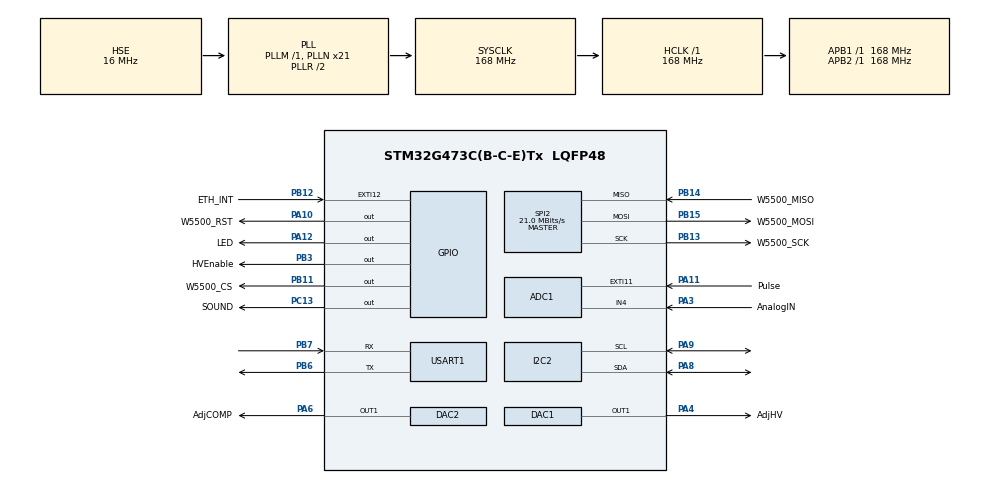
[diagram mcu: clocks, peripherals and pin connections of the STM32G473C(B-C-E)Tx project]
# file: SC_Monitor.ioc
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ADC1.Channel-1\#ChannelRegularConversion=ADC_CHANNEL_4
ADC1.ClockPrescaler=ADC_CLOCK_SYNC_PCLK_DIV4
ADC1.DMAContinuousRequests=ENABLE
ADC1.NbrOfConversionFlag=1
ADC1.OffsetNumber-1\#ChannelRegularConversion=ADC_OFFSET_1
ADC1.Rank-1\#ChannelRegularConversion=1
ADC1.SamplingTime-1\#ChannelRegularConversion=ADC_SAMPLETIME_12CYCLES_5
ADC1.master=1
DAC1.DAC_Channel-DAC_OUT2=DAC_CHANNEL_2
Dma.ADC1.1.Direction=DMA_PERIPH_TO_MEMORY
Dma.ADC1.1.EventEnable=DISABLE
Dma.ADC1.1.Instance=DMA1_Channel1
Dma.ADC1.1.MemDataAlignment=DMA_MDATAALIGN_HALFWORD
Dma.ADC1.1.MemInc=DMA_MINC_DISABLE
Dma.ADC1.1.Mode=DMA_CIRCULAR
Dma.ADC1.1.PeriphDataAlignment=DMA_PDATAALIGN_HALFWORD
Dma.ADC1.1.PeriphInc=DMA_PINC_DISABLE
Dma.ADC1.1.Polarity=HAL_DMAMUX_REQ_GEN_RISING
Dma.ADC1.1.Priority=DMA_PRIORITY_HIGH
Dma.ADC1.1.RequestNumber=1
Dma.ADC1.1.SignalID=NONE
Dma.ADC1.1.SyncEnable=DISABLE
Dma.ADC1.1.SyncPolarity=HAL_DMAMUX_SYNC_NO_EVENT
Dma.ADC1.1.SyncRequestNumber=1
Dma.ADC1.1.SyncSignalID=NONE
Dma.Request0=USART1_RX
Dma.Request1=ADC1
Dma.USART1_RX.0.Direction=DMA_PERIPH_TO_MEMORY
Dma.USART1_RX.0.EventEnable=DISABLE
Dma.USART1_RX.0.Instance=DMA1_Channel2
Dma.USART1_RX.0.MemDataAlignment=DMA_MDATAALIGN_BYTE
Dma.USART1_RX.0.MemInc=DMA_MINC_DISABLE
Dma.USART1_RX.0.Mode=DMA_CIRCULAR
Dma.USART1_RX.0.PeriphDataAlignment=DMA_PDATAALIGN_BYTE
Dma.USART1_RX.0.PeriphInc=DMA_PINC_DISABLE
Dma.USART1_RX.0.Polarity=HAL_DMAMUX_REQ_GEN_RISING
Dma.USART1_RX.0.Priority=DMA_PRIORITY_LOW
Dma.USART1_RX.0.RequestNumber=1
Dma.USART1_RX.0.SignalID=NONE
Dma.USART1_RX.0.SyncEnable=DISABLE
Dma.USART1_RX.0.SyncPolarity=HAL_DMAMUX_SYNC_NO_EVENT
Dma.USART1_RX.0.SyncRequestNumber=1
Dma.USART1_RX.0.SyncSignalID=NONE
I2C2.Timing=0x00503D58
Mcu.Family=STM32G4
Mcu.Name=STM32G473C(B-C-E)Tx
Mcu.Package=LQFP48
NVIC.DMA1_Channel1_IRQn=true\:0\:0\:false\:false\:true\:false\:true\:true
NVIC.DMA1_Channel2_IRQn=true\:0\:0\:false\:false\:true\:false\:true\:true
NVIC.PriorityGroup=NVIC_PRIORITYGROUP_4
NVIC.TIM5_IRQn=true\:0\:0\:false\:false\:true\:true\:true\:true
PA10.GPIO_Label=W5500_RST
PA10.Signal=GPIO_Output
PA11.GPIO_Label=Pulse
PA11.Signal=GPXTI11
PA12.GPIO_Label=LED
PA12.Signal=GPIO_Output
PA3.GPIO_Label=AnalogIN
PA3.Mode=IN4-Single-Ended
PA3.Signal=ADC1_IN4
PA4.GPIO_Label=AdjHV
PA4.Signal=COMP_DAC11_group
PA6.GPIO_Label=AdjCOMP
PA6.Signal=COMP_DAC21_group
PA8.GPIO_Pu=GPIO_PULLUP
PA8.Mode=I2C
PA8.Signal=I2C2_SDA
PA9.GPIO_Pu=GPIO_PULLUP
PA9.Mode=I2C
PA9.Signal=I2C2_SCL
PB11.GPIO_Label=W5500_CS
PB11.Signal=GPIO_Output
PB12.GPIO_Label=ETH_INT
PB12.Signal=GPXTI12
PB13.GPIO_Label=W5500_SCK
PB13.GPIO_PuPd=GPIO_PULLUP
PB13.Mode=Full_Duplex_Master
PB13.Signal=SPI2_SCK
PB14.GPIO_Label=W5500_MISO
PB14.GPIO_PuPd=GPIO_PULLUP
PB14.Mode=Full_Duplex_Master
PB14.Signal=SPI2_MISO
PB15.GPIO_Label=W5500_MOSI
PB15.GPIO_PuPd=GPIO_PULLUP
PB15.Mode=Full_Duplex_Master
PB15.Signal=SPI2_MOSI
PB3.GPIO_Label=HVEnable
PB3.Signal=GPIO_Output
PB6.Mode=Asynchronous
PB6.Signal=USART1_TX
PB7.Mode=Asynchronous
PB7.Signal=USART1_RX
PC13.GPIO_Label=SOUND
PC13.Signal=GPIO_Output
PF0-OSC_IN.Mode=HSE-External-Oscillator
PF0-OSC_IN.Signal=RCC_OSC_IN
PF1-OSC_OUT.Mode=HSE-External-Oscillator
PF1-OSC_OUT.Signal=RCC_OSC_OUT
ProjectManager.HeapSize=0x200
ProjectManager.StackSize=0x400
ProjectManager.TargetToolchain=STM32CubeIDE
RCC.ADC12Freq_Value=168000000
RCC.ADC345Freq_Value=168000000
RCC.AHBFreq_Value=168000000
RCC.APB1Freq_Value=168000000
RCC.APB1TimFreq_Value=168000000
RCC.APB2Freq_Value=168000000
RCC.APB2TimFreq_Value=168000000
RCC.CortexFreq_Value=168000000
RCC.EXTERNAL_CLOCK_VALUE=12288000
RCC.HCLKFreq_Value=168000000
RCC.HSE_VALUE=16000000
RCC.HSI48_VALUE=48000000
RCC.HSI_VALUE=16000000
RCC.I2C2CLockSelection=RCC_I2C2CLKSOURCE_HSI
RCC.LSE_VALUE=32768
RCC.PLLN=21
RCC.PLLSourceVirtual=RCC_PLLSOURCE_HSE
RCC.SYSCLKFreq_VALUE=168000000
RCC.SYSCLKSource=RCC_SYSCLKSOURCE_PLLCLK
RCC.USART1CLockSelection=RCC_USART1CLKSOURCE_HSI
RCC.USBFreq_Value=168000000
RCC.VCOOutputFreq_Value=336000000
SH.COMP_DAC11_group.0=DAC1_OUT1,DAC_OUT1
SH.COMP_DAC21_group.0=DAC2_OUT1,DAC_OUT1
SPI2.BaudRatePrescaler=SPI_BAUDRATEPRESCALER_8
SPI2.CalculateBaudRate=21.0 MBits/s
SPI2.DataSize=SPI_DATASIZE_8BIT
SPI2.Direction=SPI_DIRECTION_2LINES
SPI2.Mode=SPI_MODE_MASTER
SPI2.VirtualType=VM_MASTER
TIM5.Channel-Output\ Compare1\ No\ Output=TIM_CHANNEL_1
TIM5.OCMode_1=TIM_OCMODE_TOGGLE
TIM5.PeriodNoDither=1680000
USART1.VirtualMode-Asynchronous=VM_ASYNC
VP_SYS_VS_DBSignals.Mode=DisableDeadBatterySignals
VP_TIM5_VS_ClockSourceINT.Mode=Internal
VP_TIM5_VS_OPM.Mode=OPM_bit
VP_TIM5_VS_no_output1.Mode=Output Compare1 No Output
board=custom

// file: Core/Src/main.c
/* USER CODE BEGIN Header */
/**
  ******************************************************************************
  * @file           : main.c
  * @brief          : Main program body
  ******************************************************************************
  * @attention
  *
  * Copyright (c) 2025 STMicroelectronics.
  * All rights reserved.
  *
  * This software is licensed under terms that can be found in the LICENSE file
  * in the root directory of this software component.
  * If no LICENSE file comes with this software, it is provided AS-IS.
  *
  ******************************************************************************
  */
/* USER CODE END Header */
#include "main.h"

ADC_HandleTypeDef hadc1;
DMA_HandleTypeDef hdma_adc1;

DAC_HandleTypeDef hdac1;
DAC_HandleTypeDef hdac2;

I2C_HandleTypeDef hi2c2;

SPI_HandleTypeDef hspi2;

TIM_HandleTypeDef htim5;

UART_HandleTypeDef huart1;
DMA_HandleTypeDef hdma_usart1_rx;

/* USER CODE BEGIN PV */
uint16_t HVLevel = HV_LEVEL, COMPLevel = COMPARATOR_LEVEL;
char uartBuffer[400] = {0,};
uint32_t specterBuffer[SPECTER_SIZE] = {0,};
uint32_t pulseCounter = 0, measurementTime = 0, currentTime = 0, delayTime1 = 0, tm = 0, pulseCounterSel = 0;
uint8_t ctrlChar[1] = {0,}, ampLevel = AMP_DEFAULT;
uint32_t pulseLevel[1];
bool reqToSpecter = false, testFlag = false;
char text1306[11];
char ZabbixHostName[255];
struct intervalData intArrData[NUMBERINTERVAL];

/* USER CODE END PV */

void SystemClock_Config(void);
static void MX_GPIO_Init(void);
static void MX_DMA_Init(void);
static void MX_ADC1_Init(void);
static void MX_DAC1_Init(void);
static void MX_DAC2_Init(void);
static void MX_I2C2_Init(void);
static void MX_USART1_UART_Init(void);
static void MX_SPI2_Init(void);
static void MX_TIM5_Init(void);

/* USER CODE BEGIN 0 */
uint32_t sendWorld(uint32_t dt) {
	uint8_t l1_word, l2_word, l3_word, l4_word;
	l1_word = dt & 0xFF;
	l2_word = (dt >> 8) & 0xFF;
	l3_word = (dt >> 16) & 0xFF;
	l4_word = (dt >> 24) & 0xFF;

	while ( HAL_OK != HAL_UART_Transmit(&huart1, (uint8_t *) &l1_word , 1, 100));
	while ( HAL_OK != HAL_UART_Transmit(&huart1, (uint8_t *) &l2_word , 1, 100));
	while ( HAL_OK != HAL_UART_Transmit(&huart1, (uint8_t *) &l3_word , 1, 100));
	while ( HAL_OK != HAL_UART_Transmit(&huart1, (uint8_t *) &l4_word , 1, 100));
	return dt;
}

/* USER CODE END 0 */

int main(void)
{

  /* MCU Configuration--------------------------------------------------------*/

  /* Reset of all peripherals, Initializes the Flash interface and the Systick. */
  HAL_Init();

  /* Configure the system clock */
  SystemClock_Config();

  /* Initialize all configured peripherals */
  MX_GPIO_Init();
  MX_DMA_Init();
  MX_ADC1_Init();
  MX_DAC1_Init();
  MX_DAC2_Init();
  MX_I2C2_Init();
  MX_USART1_UART_Init();
  MX_SPI2_Init();
  MX_TIM5_Init();

  /* Infinite loop */
  /* USER CODE BEGIN WHILE */
  /* Start init */
  bzero((char *) uartBuffer, sizeof(uartBuffer));
  sprintf(uartBuffer, "\n\rStart spectrometer.\n\r");
  HAL_UART_Transmit(&huart1, (uint8_t *) uartBuffer, strlen(uartBuffer), 100);

  HAL_ADCEx_Calibration_Start(&hadc1, ADC_SINGLE_ENDED);
  ssd1306_Init();
  ssd1306_Fill(Black);
  ssd1306_SetCursor(0, 0);
  sprintf(text1306, "Init ETH");
  ssd1306_WriteString(text1306, Font_6x8, White);
  ssd1306_SetCursor(0, 8);
  sprintf(text1306, "Wait DHCP");
  ssd1306_WriteString(text1306, Font_6x8, White);
  //ssd1306_SetCursor(0, 16);
  //sprintf(text1306, "   DHCP");
  //ssd1306_WriteString(text1306, Font_6x8, White);
  //ssd1306_SetCursor(0, 24);
  //sprintf(text1306, "A: %d", 1);
  //ssd1306_WriteString(text1306, Font_6x8, White);
  ssd1306_UpdateScreen();

  HAL_GPIO_WritePin(W5500_CS_GPIO_Port, W5500_CS_Pin, GPIO_PIN_SET);
  HAL_GPIO_WritePin(W5500_RST_GPIO_Port, W5500_RST_Pin, GPIO_PIN_RESET);	// Reset W5500
  #ifdef ZABBIX_ENABLE
  HAL_UART_Transmit(&huart1, (uint8_t *) W5500_INIT_TEXT, sizeof(W5500_INIT_TEXT), 1000);
  HAL_GPIO_WritePin(W5500_RST_GPIO_Port, W5500_RST_Pin, GPIO_PIN_SET);
  HAL_GPIO_WritePin(W5500_CS_GPIO_Port, W5500_CS_Pin, GPIO_PIN_RESET);
  HAL_Delay(3000);
  init_w5500();
  //http_socket(TCP_SOCKET);
  #endif

  bzero((char *) uartBuffer, sizeof(uartBuffer));
  sprintf(uartBuffer, "Resolution: %d channels.\n\r", SPECTER_SIZE);
  HAL_UART_Transmit(&huart1, (uint8_t *) uartBuffer, strlen(uartBuffer), 100);

  /* Подготовка массива для спектра */
  for (int ii = 0; ii < SPECTER_SIZE; ii++) {
	  specterBuffer[ii] = 0;
  }

  /* Подготовка счетчиков */
  pulseCounter = 0;

  /* Запускаем ADC */
  uint8_t hal_code;
  if (  HAL_OK != (hal_code = HAL_ADCEx_Calibration_Start(&hadc1, ADC_SINGLE_ENDED))) {
	  bzero((char *) uartBuffer, sizeof(uartBuffer));
	  sprintf(uartBuffer, "Error ADC calibrate: %u.\n\r", hal_code);
	  HAL_UART_Transmit(&huart1, (uint8_t *) uartBuffer, strlen(uartBuffer), 100);
  }

  /* HV Power on */
  HAL_DAC_Start(&hdac1, DAC_CHANNEL_1);
  HAL_DAC_SetValue(&hdac1, DAC_CHANNEL_1, DAC_ALIGN_12B_R, HVLevel);
  HAL_Delay(500);
  HAL_GPIO_WritePin(HVEnable_GPIO_Port, HVEnable_Pin, GPIO_PIN_SET);
  bzero((char *) uartBuffer, sizeof(uartBuffer));
  sprintf(uartBuffer, "HV power on, HVLevel: %u.\n\r", HVLevel);
  HAL_UART_Transmit(&huart1, (uint8_t *) uartBuffer, strlen(uartBuffer), 100);
  bzero((char *) uartBuffer, sizeof(uartBuffer));
  sprintf(uartBuffer, "Amplifier level: %u.\n\r", ampLevel);
  HAL_UART_Transmit(&huart1, (uint8_t *) uartBuffer, strlen(uartBuffer), 100);
  bzero((char *) uartBuffer, sizeof(uartBuffer));
  sprintf(uartBuffer, "Comparator level: %u.\n\r", COMPLevel);
  HAL_UART_Transmit(&huart1, (uint8_t *) uartBuffer, strlen(uartBuffer), 100);
  bzero((char *) uartBuffer, sizeof(uartBuffer));
  sprintf(uartBuffer, "'+' - HVpower down\n\r'-' - HVPower up\n\r'p' - Comparator up\n\r'm' - Comparator down\n\r'u' - Amplitude up\n\r'd' - Amplitude down\n\r't' - Test.\n\r");
  HAL_UART_Transmit(&huart1, (uint8_t *) uartBuffer, strlen(uartBuffer), 100);

  /* Установка уровня компаратора */
  HAL_DAC_Start(&hdac2, DAC_CHANNEL_1);
  HAL_DAC_SetValue(&hdac2, DAC_CHANNEL_1, DAC_ALIGN_12B_R, COMPLevel);

  /* Настройка уровня усиления */
  AD5245level(ampLevel);

  /*  Настройка uart для приема */
  HAL_UART_Receive_DMA(&huart1, ctrlChar, 1);

  /* Запускаем набор спектра */
  HAL_ADC_Start_DMA(&hadc1, pulseLevel, 1);
  __HAL_DMA_DISABLE_IT(hadc1.DMA_Handle, DMA_IT_HT);
  measurementTime = HAL_GetTick();

  ssd1306_SetCursor(0, 16);
  sprintf(text1306, "%d.%d", net_info.ip[0], net_info.ip[1]);
  ssd1306_WriteString(text1306, Font_6x8, White);
  ssd1306_SetCursor(0, 24);
  sprintf(text1306, "%d.%d", net_info.ip[2], net_info.ip[3]);
  ssd1306_WriteString(text1306, Font_6x8, White);
  ssd1306_UpdateScreen();
  HAL_Delay(1000);
  ssd1306_Fill(Black);
  ssd1306_UpdateScreen();

  while (1)
  {
	  currentTime = HAL_GetTick();
	  linsten_tcp_socket();
	  if (currentTime > delayTime1) {
		  delayTime1 = currentTime + DELAYTIME1;
		  //HAL_GPIO_TogglePin(LED_GPIO_Port, LED_Pin);

		  tm = ( currentTime - measurementTime) / 1000;
		  ssd1306_SetCursor(0, 0);
		  sprintf(text1306, "C:%0.2f", (float) pulseCounter / (float) tm);
		  ssd1306_WriteString(text1306, Font_6x8, White);
		  ssd1306_SetCursor(0, 8);
		  sprintf(text1306, "T:%lu", tm);
		  ssd1306_WriteString(text1306, Font_6x8, White);
		  ssd1306_SetCursor(0, 16);
		  sprintf(text1306, "L:%lu/%lu", COMPLevel, HVLevel);
		  ssd1306_WriteString(text1306, Font_6x8, White);
		  ssd1306_SetCursor(0, 24);
		  sprintf(text1306, "A:%d", ampLevel);
		  ssd1306_WriteString(text1306, Font_6x8, White);
		  ssd1306_UpdateScreen();
		  //HAL_GPIO_TogglePin(SOUND_GPIO_Port, SOUND_Pin);
		  //uint32_t sm = 0;
		  //for (int i = 0; i < SPECTER_SIZE; i++) {
			//  sm = sm + specterBuffer[i];
		  //}
		  if (testFlag) {
			  bzero((char *) uartBuffer, sizeof(uartBuffer));
			  sprintf(uartBuffer, "Time: %lu, Count: %lu, Rate: %0.4f cps, HVPower: %u, Comparator: %u, Amp: %u          \r", tm, pulseCounter, (float) pulseCounter / tm, HVLevel, COMPLevel, ampLevel);
			  HAL_UART_Transmit(&huart1, (uint8_t *) uartBuffer, strlen(uartBuffer), 100);
		  }

		  /* Подготовка HTML страницы */
		  char spectr_str[10000];
		  bzero(spectr_str, sizeof(spectr_str));
		  char tmp_buffer[12];
		  uint32_t idxStr = 0;
		  for (int iii = 0; iii < 50; iii++) {
			  bzero(tmp_buffer, sizeof(tmp_buffer));
			  if (iii < 49) {
			    sprintf(tmp_buffer, "%lu,", specterBuffer[iii]);
			  } else {
				  sprintf(tmp_buffer, "%lu", specterBuffer[iii]);
			  }
			  //HAL_UART_Transmit(&huart1, (uint8_t *) tmp_buffer, strlen(tmp_buffer), 100);
			  if (idxStr < sizeof(spectr_str)) {
				  for (int jjj = 0; jjj < strlen(tmp_buffer); jjj++) {
					  spectr_str[idxStr++] = tmp_buffer[jjj];
				  }
				  //if (iii < SPECTER_SIZE - 1) {
					//  spectr_str[idxStr++] = ',';
				  //}
			  } else {
				  break;
			  }
		  }
		  //HAL_UART_Transmit(&huart1, (uint8_t *) spectr_str, strlen(spectr_str), 100);
		  //HAL_UART_Transmit(&huart1, (uint8_t *) Spectrometr_page_str, strlen(Spectrometr_page_str), 100);
	  }

	  if (reqToSpecter) {
		  reqToSpecter = false;
		  /* Выгрузка спектра в UART */
		  if (strchr((char *) ctrlChar, 'l')) {
			  HAL_UART_Transmit(&huart1, (uint8_t *) "\n\r$\n\r", 5, 100);
			  for (int i = 0; i < SPECTER_SIZE; i++) {
				  bzero((char *) uartBuffer, sizeof(uartBuffer));
				  sprintf(uartBuffer, "%d; %lu\n\r", i, specterBuffer[i]);
				  HAL_UART_Transmit(&huart1, (uint8_t *) uartBuffer, strlen(uartBuffer), 100);
			  }
			  HAL_UART_Transmit(&huart1, (uint8_t *) "#\n\r", 3, 100);
		  } else
			  /* Тестовые сообщения */
			  if (strchr((char *) ctrlChar, 't')) {
				  	  testFlag = ! testFlag;
			  } else
				  /* Уровень высокого напряжения */
				  if (strchr((char *) ctrlChar, '+')) {
					  	  HVLevel++;
					  	  if (HVLevel <= 0x0FFF) {
					  		  HAL_DAC_SetValue(&hdac1, DAC_CHANNEL_1, DAC_ALIGN_12B_R, HVLevel);
					  	  } else {
					  		  HVLevel = 0xFFF;
					  	  }
		  } else
			  /* Уменьшение уровня усиления */
			  if (strchr((char *) ctrlChar, '-')) {
			  	  if (HVLevel != 0) {
				  	  HVLevel--;
			  	  } else {
			  		HVLevel = 0;
			  	  }
		  		  HAL_DAC_SetValue(&hdac1, DAC_CHANNEL_1, DAC_ALIGN_12B_R, HVLevel);
		  } else
			  /* Очистка буфера спектрометра и счетчиков */
			  if (strchr((char *) ctrlChar, 'c')) {
					  for (int i = 0; i < SPECTER_SIZE; i++) {
						  specterBuffer[i] = 0;
					  }
					  pulseCounter = 0;
					  measurementTime = HAL_GetTick();
		  } else
			  /* Уменьшение уровня компаратора */
			  if (strchr((char *) ctrlChar, 'm')) {
				  if (COMPLevel != 0) {
					  COMPLevel--;
					  HAL_DAC_SetValue(&hdac2, DAC_CHANNEL_1, DAC_ALIGN_12B_R, COMPLevel);
				  } else {
					  COMPLevel = 0;
				  }
		  } else
			  /* Увеличение уровня компаратора */
			  if (strchr((char *) ctrlChar, 'p')) {
				  if (COMPLevel <= 0xFFF) {
					  COMPLevel++;
					  HAL_DAC_SetValue(&hdac2, DAC_CHANNEL_1, DAC_ALIGN_12B_R, COMPLevel);
				  } else {
					  COMPLevel = 0xFFF;
				  }
			  } else
				  /* Увеличение Усиления */
				  if (strchr((char *) ctrlChar, 'u')) {
					  if (ampLevel <= 0xFF) {
						  ampLevel++;
						  AD5245level(ampLevel);
					  } else {
						  ampLevel = 0xFF;
					  }
				  } else
					  /* Уменьшение усиления */
					  if (strchr((char *) ctrlChar, 'd')) {
						  if (ampLevel <= 0xFF) {
							  ampLevel--;
							  AD5245level(ampLevel);
						  } else {
							  ampLevel = 0xFF;
						  }
		  } else
			/* Выгрузка бинарных данных */
			  if (strchr((char *) ctrlChar, 'b')) {
				  /* Подготовка тестовых данных */
				  //for(int i = 3900; i < SPECTER_SIZE; i++) {
				  //	specterBuffer[i] = 0;
				  //}
				  //specterBuffer[4095] = 0;
				  while ( HAL_OK != HAL_UART_Transmit(&huart1, (uint8_t *) "<B>", 3, 100));
				  uint32_t cs_summ = 0, tmp_data;

				  /* Подготовка и передача времени измерения */
				  //tmp_data = tm;
				  cs_summ = sendWorld(( currentTime - measurementTime) / 1000);

				  /* Подготовка и передача количества импульсов */
				  tmp_data = pulseCounter;
				  cs_summ = cs_summ + sendWorld(tmp_data);

				  /* Передача данных спектра */
				  int idd = 0;
				  for (int i = 0; i < SPECTER_SIZE; i++) {
					  tmp_data = specterBuffer[i];
					  cs_summ = cs_summ + sendWorld(tmp_data);
					  idd++;
				  }
				  sendWorld(cs_summ);
				  //bzero((char *) uartBuffer, sizeof(uartBuffer));
				  //sprintf(uartBuffer,  "\n\rc_summ: %lu, idx: %d\n\r", cs_summ, idd);
				  //while ( HAL_OK != HAL_UART_Transmit(&huart1, (uint8_t *) uartBuffer, strlen(uartBuffer), 100));
			  }
	  }
    /* USER CODE END WHILE */

  }
}

void SystemClock_Config(void)
{
  RCC_OscInitTypeDef RCC_OscInitStruct = {0};
  RCC_ClkInitTypeDef RCC_ClkInitStruct = {0};

  /** Configure the main internal regulator output voltage
  */
  HAL_PWREx_ControlVoltageScaling(PWR_REGULATOR_VOLTAGE_SCALE1_BOOST);

  /** Initializes the RCC Oscillators according to the specified parameters
  * in the RCC_OscInitTypeDef structure.
  */
  RCC_OscInitStruct.OscillatorType = RCC_OSCILLATORTYPE_HSI|RCC_OSCILLATORTYPE_HSE;
  RCC_OscInitStruct.HSEState = RCC_HSE_ON;
  RCC_OscInitStruct.HSIState = RCC_HSI_ON;
  RCC_OscInitStruct.HSICalibrationValue = RCC_HSICALIBRATION_DEFAULT;
  RCC_OscInitStruct.PLL.PLLState = RCC_PLL_ON;
  RCC_OscInitStruct.PLL.PLLSource = RCC_PLLSOURCE_HSE;
  RCC_OscInitStruct.PLL.PLLM = RCC_PLLM_DIV1;
  RCC_OscInitStruct.PLL.PLLN = 21;
  RCC_OscInitStruct.PLL.PLLP = RCC_PLLP_DIV2;
  RCC_OscInitStruct.PLL.PLLQ = RCC_PLLQ_DIV2;
  RCC_OscInitStruct.PLL.PLLR = RCC_PLLR_DIV2;
  if (HAL_RCC_OscConfig(&RCC_OscInitStruct) != HAL_OK)
  {
    Error_Handler();
  }

  /** Initializes the CPU, AHB and APB buses clocks
  */
  RCC_ClkInitStruct.ClockType = RCC_CLOCKTYPE_HCLK|RCC_CLOCKTYPE_SYSCLK
                              |RCC_CLOCKTYPE_PCLK1|RCC_CLOCKTYPE_PCLK2;
  RCC_ClkInitStruct.SYSCLKSource = RCC_SYSCLKSOURCE_PLLCLK;
  RCC_ClkInitStruct.AHBCLKDivider = RCC_SYSCLK_DIV1;
  RCC_ClkInitStruct.APB1CLKDivider = RCC_HCLK_DIV1;
  RCC_ClkInitStruct.APB2CLKDivider = RCC_HCLK_DIV1;

  if (HAL_RCC_ClockConfig(&RCC_ClkInitStruct, FLASH_LATENCY_4) != HAL_OK)
  {
    Error_Handler();
  }
}

static void MX_ADC1_Init(void)
{

  ADC_MultiModeTypeDef multimode = {0};
  ADC_ChannelConfTypeDef sConfig = {0};

  /** Common config
  */
  hadc1.Instance = ADC1;
  hadc1.Init.ClockPrescaler = ADC_CLOCK_SYNC_PCLK_DIV4;
  hadc1.Init.Resolution = ADC_RESOLUTION_12B;
  hadc1.Init.DataAlign = ADC_DATAALIGN_RIGHT;
  hadc1.Init.GainCompensation = 0;
  hadc1.Init.ScanConvMode = ADC_SCAN_DISABLE;
  hadc1.Init.EOCSelection = ADC_EOC_SINGLE_CONV;
  hadc1.Init.LowPowerAutoWait = DISABLE;
  hadc1.Init.ContinuousConvMode = DISABLE;
  hadc1.Init.NbrOfConversion = 1;
  hadc1.Init.DiscontinuousConvMode = DISABLE;
  hadc1.Init.ExternalTrigConv = ADC_EXTERNALTRIG_EXT_IT11;
  hadc1.Init.ExternalTrigConvEdge = ADC_EXTERNALTRIGCONVEDGE_RISING;
  hadc1.Init.DMAContinuousRequests = ENABLE;
  hadc1.Init.Overrun = ADC_OVR_DATA_PRESERVED;
  hadc1.Init.OversamplingMode = DISABLE;
  if (HAL_ADC_Init(&hadc1) != HAL_OK)
  {
    Error_Handler();
  }

  /** Configure the ADC multi-mode
  */
  multimode.Mode = ADC_MODE_INDEPENDENT;
  if (HAL_ADCEx_MultiModeConfigChannel(&hadc1, &multimode) != HAL_OK)
  {
    Error_Handler();
  }

  /** Configure Regular Channel
  */
  sConfig.Channel = ADC_CHANNEL_4;
  sConfig.Rank = ADC_REGULAR_RANK_1;
  sConfig.SamplingTime = ADC_SAMPLETIME_12CYCLES_5;
  sConfig.SingleDiff = ADC_SINGLE_ENDED;
  sConfig.OffsetNumber = ADC_OFFSET_1;
  sConfig.Offset = 0;
  sConfig.OffsetSign = ADC_OFFSET_SIGN_NEGATIVE;
  sConfig.OffsetSaturation = DISABLE;
  if (HAL_ADC_ConfigChannel(&hadc1, &sConfig) != HAL_OK)
  {
    Error_Handler();
  }

}

static void MX_DAC1_Init(void)
{

  DAC_ChannelConfTypeDef sConfig = {0};

  /** DAC Initialization
  */
  hdac1.Instance = DAC1;
  if (HAL_DAC_Init(&hdac1) != HAL_OK)
  {
    Error_Handler();
  }

  /** DAC channel OUT1 config
  */
  sConfig.DAC_HighFrequency = DAC_HIGH_FREQUENCY_INTERFACE_MODE_AUTOMATIC;
  sConfig.DAC_DMADoubleDataMode = DISABLE;
  sConfig.DAC_SignedFormat = DISABLE;
  sConfig.DAC_SampleAndHold = DAC_SAMPLEANDHOLD_DISABLE;
  sConfig.DAC_Trigger = DAC_TRIGGER_NONE;
  sConfig.DAC_Trigger2 = DAC_TRIGGER_NONE;
  sConfig.DAC_OutputBuffer = DAC_OUTPUTBUFFER_ENABLE;
  sConfig.DAC_ConnectOnChipPeripheral = DAC_CHIPCONNECT_EXTERNAL;
  sConfig.DAC_UserTrimming = DAC_TRIMMING_FACTORY;
  if (HAL_DAC_ConfigChannel(&hdac1, &sConfig, DAC_CHANNEL_1) != HAL_OK)
  {
    Error_Handler();
  }

}

static void MX_DAC2_Init(void)
{

  DAC_ChannelConfTypeDef sConfig = {0};

  /** DAC Initialization
  */
  hdac2.Instance = DAC2;
  if (HAL_DAC_Init(&hdac2) != HAL_OK)
  {
    Error_Handler();
  }

  /** DAC channel OUT1 config
  */
  sConfig.DAC_HighFrequency = DAC_HIGH_FREQUENCY_INTERFACE_MODE_AUTOMATIC;
  sConfig.DAC_DMADoubleDataMode = DISABLE;
  sConfig.DAC_SignedFormat = DISABLE;
  sConfig.DAC_SampleAndHold = DAC_SAMPLEANDHOLD_DISABLE;
  sConfig.DAC_Trigger = DAC_TRIGGER_NONE;
  sConfig.DAC_Trigger2 = DAC_TRIGGER_NONE;
  sConfig.DAC_OutputBuffer = DAC_OUTPUTBUFFER_ENABLE;
  sConfig.DAC_ConnectOnChipPeripheral = DAC_CHIPCONNECT_EXTERNAL;
  sConfig.DAC_UserTrimming = DAC_TRIMMING_FACTORY;
  if (HAL_DAC_ConfigChannel(&hdac2, &sConfig, DAC_CHANNEL_1) != HAL_OK)
  {
    Error_Handler();
  }

}

static void MX_I2C2_Init(void)
{

  hi2c2.Instance = I2C2;
  hi2c2.Init.Timing = 0x00503D58;
  hi2c2.Init.OwnAddress1 = 0;
  hi2c2.Init.AddressingMode = I2C_ADDRESSINGMODE_7BIT;
  hi2c2.Init.DualAddressMode = I2C_DUALADDRESS_DISABLE;
  hi2c2.Init.OwnAddress2 = 0;
  hi2c2.Init.OwnAddress2Masks = I2C_OA2_NOMASK;
  hi2c2.Init.GeneralCallMode = I2C_GENERALCALL_DISABLE;
  hi2c2.Init.NoStretchMode = I2C_NOSTRETCH_DISABLE;
  if (HAL_I2C_Init(&hi2c2) != HAL_OK)
  {
    Error_Handler();
  }

  /** Configure Analogue filter
  */
  if (HAL_I2CEx_ConfigAnalogFilter(&hi2c2, I2C_ANALOGFILTER_ENABLE) != HAL_OK)
  {
    Error_Handler();
  }

  /** Configure Digital filter
  */
  if (HAL_I2CEx_ConfigDigitalFilter(&hi2c2, 0) != HAL_OK)
  {
    Error_Handler();
  }

}

static void MX_SPI2_Init(void)
{

  /* SPI2 parameter configuration*/
  hspi2.Instance = SPI2;
  hspi2.Init.Mode = SPI_MODE_MASTER;
  hspi2.Init.Direction = SPI_DIRECTION_2LINES;
  hspi2.Init.DataSize = SPI_DATASIZE_8BIT;
  hspi2.Init.CLKPolarity = SPI_POLARITY_LOW;
  hspi2.Init.CLKPhase = SPI_PHASE_1EDGE;
  hspi2.Init.NSS = SPI_NSS_SOFT;
  hspi2.Init.BaudRatePrescaler = SPI_BAUDRATEPRESCALER_8;
  hspi2.Init.FirstBit = SPI_FIRSTBIT_MSB;
  hspi2.Init.TIMode = SPI_TIMODE_DISABLE;
  hspi2.Init.CRCCalculation = SPI_CRCCALCULATION_DISABLE;
  hspi2.Init.CRCPolynomial = 7;
  hspi2.Init.CRCLength = SPI_CRC_LENGTH_DATASIZE;
  hspi2.Init.NSSPMode = SPI_NSS_PULSE_ENABLE;
  if (HAL_SPI_Init(&hspi2) != HAL_OK)
  {
    Error_Handler();
  }

}

static void MX_TIM5_Init(void)
{

  TIM_ClockConfigTypeDef sClockSourceConfig = {0};
  TIM_MasterConfigTypeDef sMasterConfig = {0};
  TIM_OC_InitTypeDef sConfigOC = {0};

  htim5.Instance = TIM5;
  htim5.Init.Prescaler = 0;
  htim5.Init.CounterMode = TIM_COUNTERMODE_UP;
  htim5.Init.Period = 1680000;
  htim5.Init.ClockDivision = TIM_CLOCKDIVISION_DIV1;
  htim5.Init.AutoReloadPreload = TIM_AUTORELOAD_PRELOAD_DISABLE;
  if (HAL_TIM_Base_Init(&htim5) != HAL_OK)
  {
    Error_Handler();
  }
  sClockSourceConfig.ClockSource = TIM_CLOCKSOURCE_INTERNAL;
  if (HAL_TIM_ConfigClockSource(&htim5, &sClockSourceConfig) != HAL_OK)
  {
    Error_Handler();
  }
  if (HAL_TIM_OC_Init(&htim5) != HAL_OK)
  {
    Error_Handler();
  }
  if (HAL_TIM_OnePulse_Init(&htim5, TIM_OPMODE_SINGLE) != HAL_OK)
  {
    Error_Handler();
  }
  sMasterConfig.MasterOutputTrigger = TIM_TRGO_RESET;
  sMasterConfig.MasterSlaveMode = TIM_MASTERSLAVEMODE_DISABLE;
  if (HAL_TIMEx_MasterConfigSynchronization(&htim5, &sMasterConfig) != HAL_OK)
  {
    Error_Handler();
  }
  sConfigOC.OCMode = TIM_OCMODE_TOGGLE;
  sConfigOC.Pulse = 0;
  sConfigOC.OCPolarity = TIM_OCPOLARITY_HIGH;
  sConfigOC.OCFastMode = TIM_OCFAST_DISABLE;
  if (HAL_TIM_OC_ConfigChannel(&htim5, &sConfigOC, TIM_CHANNEL_1) != HAL_OK)
  {
    Error_Handler();
  }

}

static void MX_USART1_UART_Init(void)
{

  huart1.Instance = USART1;
  huart1.Init.BaudRate = 115200;
  huart1.Init.WordLength = UART_WORDLENGTH_8B;
  huart1.Init.StopBits = UART_STOPBITS_1;
  huart1.Init.Parity = UART_PARITY_NONE;
  huart1.Init.Mode = UART_MODE_TX_RX;
  huart1.Init.HwFlowCtl = UART_HWCONTROL_NONE;
  huart1.Init.OverSampling = UART_OVERSAMPLING_16;
  huart1.Init.OneBitSampling = UART_ONE_BIT_SAMPLE_DISABLE;
  huart1.Init.ClockPrescaler = UART_PRESCALER_DIV1;
  huart1.AdvancedInit.AdvFeatureInit = UART_ADVFEATURE_NO_INIT;
  if (HAL_UART_Init(&huart1) != HAL_OK)
  {
    Error_Handler();
  }
  if (HAL_UARTEx_SetTxFifoThreshold(&huart1, UART_TXFIFO_THRESHOLD_1_8) != HAL_OK)
  {
    Error_Handler();
  }
  if (HAL_UARTEx_SetRxFifoThreshold(&huart1, UART_RXFIFO_THRESHOLD_1_8) != HAL_OK)
  {
    Error_Handler();
  }
  if (HAL_UARTEx_DisableFifoMode(&huart1) != HAL_OK)
  {
    Error_Handler();
  }

}

static void MX_DMA_Init(void)
{

  /* DMA controller clock enable */
  __HAL_RCC_DMAMUX1_CLK_ENABLE();
  __HAL_RCC_DMA1_CLK_ENABLE();

  /* DMA interrupt init */
  /* DMA1_Channel1_IRQn interrupt configuration */
  HAL_NVIC_SetPriority(DMA1_Channel1_IRQn, 0, 0);
  HAL_NVIC_EnableIRQ(DMA1_Channel1_IRQn);
  /* DMA1_Channel2_IRQn interrupt configuration */
  HAL_NVIC_SetPriority(DMA1_Channel2_IRQn, 0, 0);
  HAL_NVIC_EnableIRQ(DMA1_Channel2_IRQn);

}

static void MX_GPIO_Init(void)
{
  GPIO_InitTypeDef GPIO_InitStruct = {0};

  /* GPIO Ports Clock Enable */
  __HAL_RCC_GPIOC_CLK_ENABLE();
  __HAL_RCC_GPIOF_CLK_ENABLE();
  __HAL_RCC_GPIOA_CLK_ENABLE();
  __HAL_RCC_GPIOB_CLK_ENABLE();

  /*Configure GPIO pin Output Level */
  HAL_GPIO_WritePin(SOUND_GPIO_Port, SOUND_Pin, GPIO_PIN_RESET);

  /*Configure GPIO pin Output Level */
  HAL_GPIO_WritePin(GPIOB, W5500_CS_Pin|HVEnable_Pin, GPIO_PIN_RESET);

  /*Configure GPIO pin Output Level */
  HAL_GPIO_WritePin(GPIOA, W5500_RST_Pin|LED_Pin, GPIO_PIN_RESET);

  /*Configure GPIO pin : SOUND_Pin */
  GPIO_InitStruct.Pin = SOUND_Pin;
  GPIO_InitStruct.Mode = GPIO_MODE_OUTPUT_PP;
  GPIO_InitStruct.Pull = GPIO_NOPULL;
  GPIO_InitStruct.Speed = GPIO_SPEED_FREQ_LOW;
  HAL_GPIO_Init(SOUND_GPIO_Port, &GPIO_InitStruct);

  /*Configure GPIO pins : W5500_CS_Pin HVEnable_Pin */
  GPIO_InitStruct.Pin = W5500_CS_Pin|HVEnable_Pin;
  GPIO_InitStruct.Mode = GPIO_MODE_OUTPUT_PP;
  GPIO_InitStruct.Pull = GPIO_NOPULL;
  GPIO_InitStruct.Speed = GPIO_SPEED_FREQ_LOW;
  HAL_GPIO_Init(GPIOB, &GPIO_InitStruct);

  /*Configure GPIO pin : ETH_INT_Pin */
  GPIO_InitStruct.Pin = ETH_INT_Pin;
  GPIO_InitStruct.Mode = GPIO_MODE_IT_RISING;
  GPIO_InitStruct.Pull = GPIO_NOPULL;
  HAL_GPIO_Init(ETH_INT_GPIO_Port, &GPIO_InitStruct);

  /*Configure GPIO pins : W5500_RST_Pin LED_Pin */
  GPIO_InitStruct.Pin = W5500_RST_Pin|LED_Pin;
  GPIO_InitStruct.Mode = GPIO_MODE_OUTPUT_PP;
  GPIO_InitStruct.Pull = GPIO_NOPULL;
  GPIO_InitStruct.Speed = GPIO_SPEED_FREQ_LOW;
  HAL_GPIO_Init(GPIOA, &GPIO_InitStruct);

  /*Configure GPIO pin : Pulse_Pin */
  GPIO_InitStruct.Pin = Pulse_Pin;
  GPIO_InitStruct.Mode = GPIO_MODE_IT_RISING;
  GPIO_InitStruct.Pull = GPIO_NOPULL;
  HAL_GPIO_Init(Pulse_GPIO_Port, &GPIO_InitStruct);

}

void Error_Handler(void)
{
  __disable_irq();
  while (1)
  {
  }
}
